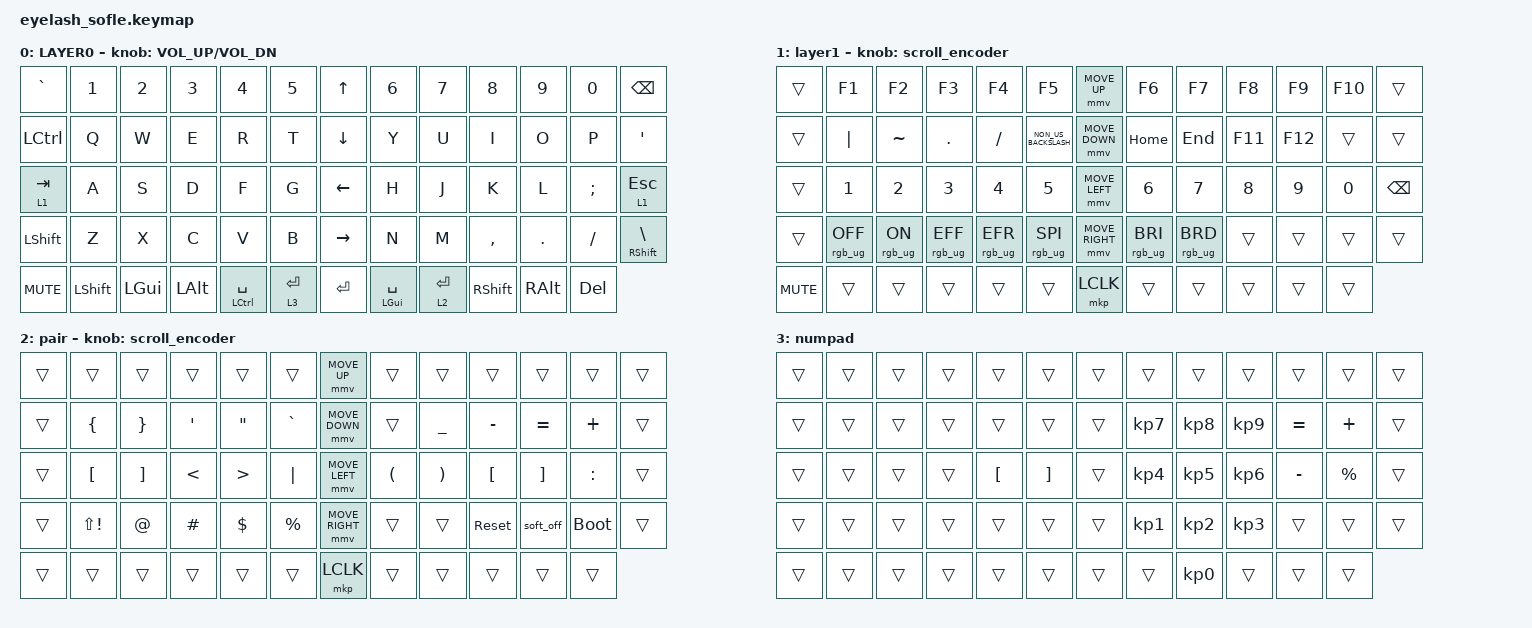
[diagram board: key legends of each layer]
#define ZMK_POINTING_DEFAULT_MOVE_VAL 1200  // 600
#define ZMK_POINTING_DEFAULT_SCRL_VAL 25   // 10

#include <input/processors.dtsi>
#include <zephyr/dt-bindings/input/input-event-codes.h>
#include <behaviors.dtsi>
#include <dt-bindings/zmk/keys.h>
#include <dt-bindings/zmk/pointing.h>
#include <dt-bindings/zmk/rgb.h>

&mmv_input_listener { input-processors = <&zip_xy_scaler 2 1>; };

&msc_input_listener { input-processors = <&zip_scroll_scaler 2 1>; };

&msc {
    acceleration-exponent = <1>;      // 0
    time-to-max-speed-ms = <100>;       // 300
    delay-ms = <0>;                   // 0
};

&mmv {
    time-to-max-speed-ms = <500>;
    acceleration-exponent = <1>;
    trigger-period-ms = <16>;
};

/ {
    scroll_encoder: scroll_encoder {
        compatible = "zmk,behavior-sensor-rotate";
        #sensor-binding-cells = <0>;
        bindings = <&msc SCRL_DOWN>, <&msc SCRL_UP>;

        tap-ms = <100>;
    };

    behaviors {
    };

    keymap {
        compatible = "zmk,keymap";

        main {
            bindings = <
&kp GRAVE         &kp N1     &kp N2        &kp N3        &kp N4           &kp N5       &kp UP_ARROW     &kp N6              &kp N7     &kp N8     &kp N9         &kp N0    &kp BACKSPACE
&kp LEFT_CONTROL  &kp Q      &kp W         &kp E         &kp R            &kp T        &kp DOWN_ARROW   &kp Y               &kp U      &kp I      &kp O          &kp P     &kp APOS
&lt 1 TAB         &kp A      &kp S         &kp D         &kp F            &kp G        &kp LEFT_ARROW   &kp H               &kp J      &kp K      &kp L          &kp SEMI  &lt 1 ESCAPE
&kp LSHFT         &kp Z      &kp X         &kp C         &kp V            &kp B        &kp RIGHT_ARROW  &kp N               &kp M      &kp COMMA  &kp DOT        &kp FSLH  &mt RSHFT BACKSLASH
&kp C_MUTE        &kp LSHFT  &kp LEFT_GUI  &kp LEFT_ALT  &mt LCTRL SPACE  &lt 3 RET    &kp ENTER        &mt LEFT_GUI SPACE  &lt 2 RET  &kp RSHFT  &kp RIGHT_ALT  &kp DEL
            >;

            sensor-bindings = <&inc_dec_kp C_VOLUME_UP C_VOL_DN>;
            display-name = "LAYER0";
        };

        symbol {
            bindings = <
&trans      &kp F1           &kp F2          &kp F3           &kp F4           &kp F5                  &mmv MOVE_UP     &kp F6           &kp F7           &kp F8        &kp F9        &kp F10       &trans
&trans      &kp PIPE         &kp TILDE       &kp PERIOD       &kp SLASH        &kp NON_US_BACKSLASH    &mmv MOVE_DOWN   &kp HOME         &kp END          &kp F11       &kp F12       &trans        &trans
&trans      &kp NUMBER_1     &kp NUMBER_2    &kp NUMBER_3     &kp NUMBER_4     &kp NUMBER_5            &mmv MOVE_LEFT   &kp NUMBER_6     &kp NUMBER_7     &kp NUMBER_8  &kp NUMBER_9  &kp NUMBER_0  &kp BACKSPACE
&trans      &rgb_ug RGB_OFF  &rgb_ug RGB_ON  &rgb_ug RGB_EFF  &rgb_ug RGB_EFR  &rgb_ug RGB_SPI         &mmv MOVE_RIGHT  &rgb_ug RGB_BRI  &rgb_ug RGB_BRD  &trans        &trans        &trans        &trans
&kp C_MUTE  &trans           &trans          &trans           &trans           &trans                  &mkp LCLK        &trans           &trans           &trans        &trans        &trans
            >;

            display-name = "layer1";
            sensor-bindings = <&scroll_encoder>;
        };

        pair {
            bindings = <
&trans  &trans               &trans             &trans          &trans             &trans         &mmv MOVE_UP     &trans                &trans                 &trans            &trans             &trans       &trans
&trans  &kp LEFT_BRACE       &kp RIGHT_BRACE    &kp APOSTROPHE  &kp DOUBLE_QUOTES  &kp GRAVE      &mmv MOVE_DOWN   &trans                &kp UNDERSCORE         &kp MINUS         &kp EQUAL          &kp PLUS     &trans
&trans  &kp LEFT_BRACKET     &kp RIGHT_BRACKET  &kp LESS_THAN   &kp GREATER_THAN   &kp PIPE       &mmv MOVE_LEFT   &kp LEFT_PARENTHESIS  &kp RIGHT_PARENTHESIS  &kp LEFT_BRACKET  &kp RIGHT_BRACKET  &kp COLON    &trans
&trans  &kp LS(EXCLAMATION)  &kp AT_SIGN        &kp HASH        &kp DOLLAR         &kp PERCENT    &mmv MOVE_RIGHT  &trans                &trans                 &sys_reset        &soft_off          &bootloader  &trans
&trans  &trans               &trans             &trans          &trans             &trans         &mkp LCLK        &trans                &trans                 &trans            &trans             &trans
            >;

            sensor-bindings = <&scroll_encoder>;
        };

        numpad {
            bindings = <
&trans  &trans  &trans  &trans  &trans            &trans               &trans  &trans           &trans           &trans           &trans     &trans       &trans
&trans  &trans  &trans  &trans  &trans            &trans               &trans  &kp KP_NUMBER_7  &kp KP_NUMBER_8  &kp KP_NUMBER_9  &kp EQUAL  &kp PLUS     &trans
&trans  &trans  &trans  &trans  &kp LEFT_BRACKET  &kp RIGHT_BRACKET    &trans  &kp KP_NUMBER_4  &kp KP_NUMBER_5  &kp KP_NUMBER_6  &kp MINUS  &kp PERCENT  &trans
&trans  &trans  &trans  &trans  &trans            &trans               &trans  &kp KP_NUMBER_1  &kp KP_NUMBER_2  &kp KP_NUMBER_3  &trans     &trans       &trans
&trans  &trans  &trans  &trans  &trans            &trans               &trans  &trans           &kp KP_NUMBER_0  &trans           &trans     &trans
            >;
        };
    };
};
